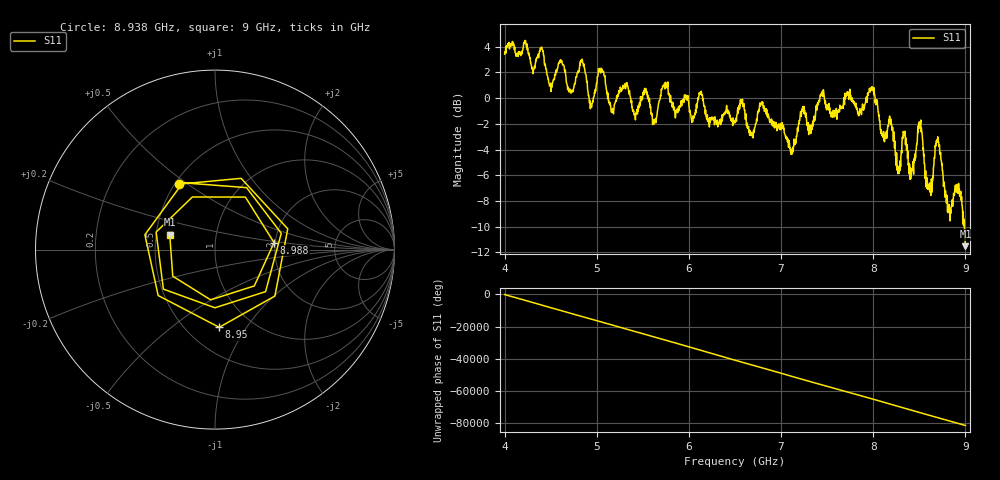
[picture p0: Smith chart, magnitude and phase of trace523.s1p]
! Created with skrf 1.8.0 (http://scikit-rf.org).
# Hz S RI R 50.0
!freq ReS11 ImS11
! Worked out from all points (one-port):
!   1601 points, 4 GHz to 9 GHz, reference 50 ohm
!   lowest |S11| = -11.5 dB at 9 GHz (marker M1), VSWR 1.72, Z = 29.5 + j5.25 ohm
!   |S11| at or under -10 dB: 8.989325 GHz to end of sweep
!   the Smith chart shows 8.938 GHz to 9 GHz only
!   S11 on the Smith chart (normalised r, x): 8.938 GHz: 0.53, +0.47; 8.95 GHz: 0.71, -0.76; 8.988 GHz: 1.97, +0.17; 9 GHz: 0.59, +0.11
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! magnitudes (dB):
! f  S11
! 4 GHz  3.4
! 4.403 GHz  4.0
! 4.5 GHz  1.2
! 4.625 GHz  2.7
! 4.719 GHz  0.5
! 4.847 GHz  2.8
! 4.934 GHz  -0.6
! 5.041 GHz  2.0
! 5.159 GHz  -1.1
! 5.25 GHz  0.5
! 5.875 GHz  -0.9
! 6.5 GHz  -1.8
! 6.684 GHz  -2.9
! 6.791 GHz  -0.3
! 7.125 GHz  -3.9
! 7.231 GHz  -1.0
! 7.75 GHz  0.1
! 7.994 GHz  0.9
! 8.272 GHz  -5.8
! 8.375 GHz  -4.1
! 8.506 GHz  -1.9
! 8.603 GHz  -6.7
! 8.697 GHz  -3.3
! 8.819 GHz  -8.3
! 8.938 GHz  -7.6
! 8.95 GHz  -7.3
! 8.988 GHz  -9.6
! 9 GHz  -11.5
